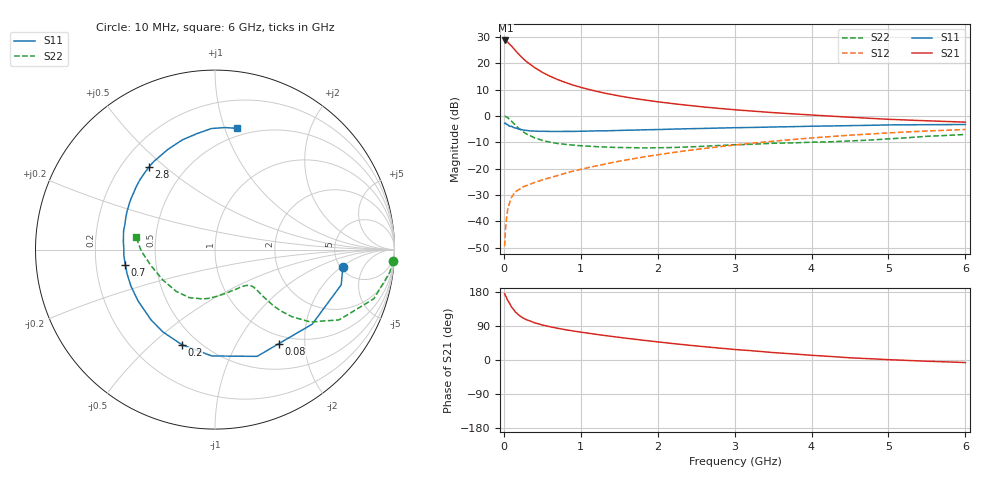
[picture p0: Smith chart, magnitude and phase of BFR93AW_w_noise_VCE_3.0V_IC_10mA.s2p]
! Infineon Technologies  Discrete & RF Semiconductors
! BFR93AW
! VCE =  3.0 V,  IC =  10 mA
! Common Emitter S-Parameters:  Jan 2017
# GHz  S  MA  R  50
!  f  S11  S21  S12  S22
! GHz  MAG  ANG  MAG  ANG  MAG  ANG  MAG  ANG
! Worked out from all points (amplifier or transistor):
!   77 points, 10 MHz to 6 GHz, reference 50 ohm
!   highest |S21| = 28.6 dB at 20 MHz (marker M1)
!   |S21| within 3 dB of that: start of sweep to 126.2 MHz
!   unconditionally stable (mu >= 1): 827.6 MHz to 2.177 GHz
!   at 130 MHz: K = 0.31, MSG = 27.5 dB, |S12| = -29.6 dB
!   at 2.2 GHz: K = 1.00, MSG = 9.3 dB, |S12| = -13.9 dB
!   at 6 GHz: K = 0.89, MSG = 1.4 dB, |S12| = -5.1 dB
!   lowest NFmin = 1.25 dB at 450 MHz
!   S11 on the Smith chart (normalised r, x): 10 MHz: 5.22, -2.14; 80 MHz: 0.87, -1.52; 200 MHz: 0.41, -0.63; 700 MHz: 0.33, -0.07; 2.8 GHz: 0.31, +0.44; 6 GHz: 0.43, +1.10
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0.01  0.7191 -7.9  26.69 175.3  0.0034 86.3  0.9922 -3.6
0.02  0.7301 -15.6  26.89 170.7  0.0066 85.5  0.9826 -7.3
0.05  0.6826 -37.5  25 157.5  0.0167 73.4  0.9263 -17.2
0.08  0.6335 -55.7  22.39 147.5  0.0237 65.3  0.8419 -24.2
0.1  0.6394 -68.5  21.11 139.6  0.0286 62.2  0.7937 -29.6
0.15  0.5929 -91.7  17.37 126.8  0.0365 54.9  0.667 -37.2
0.2  0.5609 -109.3  14.42 117.7  0.0405 51.5  0.571 -41.0
0.25  0.543 -122.2  12.21 110.8  0.0452 50.2  0.5016 -43.0
0.3  0.5296 -132.2  10.51 105.8  0.0481 50.4  0.4491 -43.9
0.4  0.5154 -146.3  8.211 98.0  0.0547 51.7  0.383 -44.2
0.5  0.5107 -156.6  6.692 92.4  0.0612 53.3  0.3434 -44.1
0.6  0.508 -164.5  5.65 87.7  0.0676 55.3  0.3177 -44.0
0.7  0.5066 -170.5  4.879 83.7  0.074 57.6  0.3 -44.2
0.9  0.5081 179.3  3.837 76.6  0.0896 60.2  0.2795 -45.8
1.1  0.5157 171.5  3.185 70.6  0.1048 62.3  0.2668 -48.5
1.5  0.5306 158.9  2.389 59.8  0.1384 63.6  0.2516 -57.2
2.1  0.5563 143.5  1.778 45.6  0.1927 62.3  0.2503 -75.6
2.8  0.5887 128.8  1.387 31.4  0.2606 58.1  0.2752 -98.2
3.1  0.6001 122.8  1.275 26.3  0.2904 55.5  0.2859 -107.0
4.1  0.6403 104.9  1.02 11.2  0.3917 45.6  0.3192 -136.5
5.1  0.6756 90.4  0.851 0.1  0.484 33.9  0.3743 -168.7
6  0.6868 79.6  0.761 -6.7  0.5528 23.2  0.445 171.0
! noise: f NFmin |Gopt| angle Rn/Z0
0.45  1.25  0.15  94  0.13
0.9  1.55  0.24  150  0.14
1.9  2.61  0.47  -148  0.18
2.4  3.24  0.54  -131  0.36
